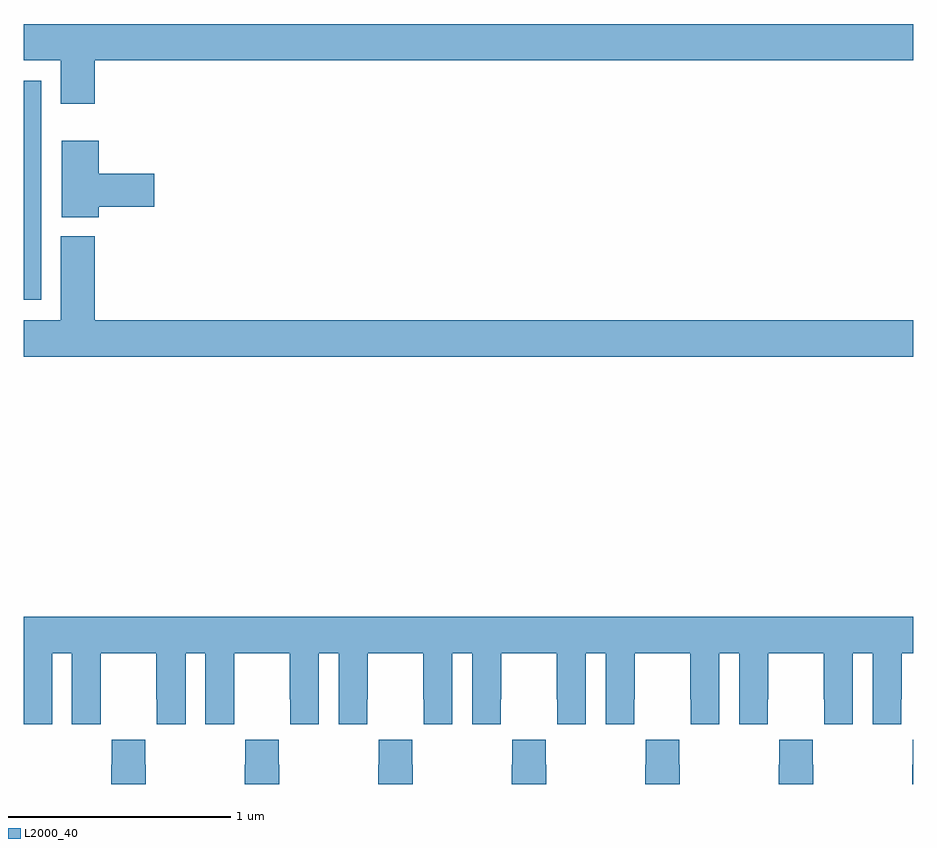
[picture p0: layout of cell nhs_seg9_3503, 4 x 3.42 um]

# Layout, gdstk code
import gdstk
lib = gdstk.Library(unit=1e-6, precision=1e-09)
def R(c, l, rs):  # rectangles x0, y0, x1, y1
    for r in rs: c.add(gdstk.rectangle(r[:2], r[2:], *l))
def P(c, l, *ps):  # polygons
    for p in ps: c.add(gdstk.Polygon(p, *l))
L2000_40 = (2000, 40)

nhs_seg9_3503 = lib.new_cell('nhs_seg9_3503')
R(nhs_seg9_3503, L2000_40, [(311,1196.676,311.079,1197.66)])
P(nhs_seg9_3503, L2000_40, [(311.321,1197.752),(315,1197.752),(315,1197.916),(311,1197.916),(311,1197.752),(311.168,1197.752),(311.168,1197.558),(311.321,1197.558)],
  [(311.338,1197.095),(311.587,1197.095),(311.587,1197.242),(311.338,1197.242),(311.338,1197.391),(311.171,1197.391),(311.171,1197.047),(311.338,1197.047)],
  [(315,1196.584),(311.321,1196.584),(311.321,1196.962),(311.168,1196.962),(311.168,1196.584),(311,1196.584),(311,1196.42),(315,1196.42)],
  [(311,1194.768),(311.128,1194.768),(311.128,1195.088),(311.216,1195.088),(311.216,1194.768),(311.346,1194.768),(311.346,1194.88),(311.347,1194.88),(311.347,1195.088),(311.597,1195.088),(311.597,1194.88),(311.598,1194.88),(311.598,1194.768),(311.728,1194.768),(311.728,1195.088),(311.816,1195.088),(311.816,1194.768),(311.946,1194.768),(311.946,1194.88),(311.947,1194.88),(311.947,1195.088),(312.197,1195.088),(312.197,1194.88),(312.198,1194.88),(312.198,1194.768),(312.328,1194.768),(312.328,1195.088),(312.416,1195.088),(312.416,1194.768),(312.546,1194.768),(312.546,1194.88),(312.547,1194.88),(312.547,1195.088),(312.797,1195.088),(312.797,1194.88),(312.798,1194.88),(312.798,1194.768),(312.928,1194.768),(312.928,1195.088),(313.016,1195.088),(313.016,1194.768),(313.146,1194.768),(313.146,1194.88),(313.147,1194.88),(313.147,1195.088),(313.397,1195.088),(313.397,1194.88),(313.398,1194.88),(313.398,1194.768),(313.528,1194.768),(313.528,1195.088),(313.616,1195.088),(313.616,1194.768),(313.746,1194.768),(313.746,1194.88),(313.747,1194.88),(313.747,1195.088),(313.997,1195.088),(313.997,1194.88),(313.998,1194.88),(313.998,1194.768),(314.128,1194.768),(314.128,1195.088),(314.216,1195.088),(314.216,1194.768),(314.346,1194.768),(314.346,1194.88),(314.347,1194.88),(314.347,1195.088),(314.597,1195.088),(314.597,1194.88),(314.598,1194.88),(314.598,1194.768),(314.728,1194.768),(314.728,1195.088),(314.816,1195.088),(314.816,1194.768),(314.946,1194.768),(314.946,1194.88),(314.947,1194.88),(314.947,1195.088),(315,1195.088),(315,1195.252),(311,1195.252)],
  [(311.55,1194.587),(311.547,1194.587),(311.547,1194.7),(311.397,1194.7),(311.397,1194.587),(311.395,1194.587),(311.395,1194.5),(311.55,1194.5)],
  [(312.15,1194.587),(312.147,1194.587),(312.147,1194.7),(311.997,1194.7),(311.997,1194.587),(311.995,1194.587),(311.995,1194.5),(312.15,1194.5)],
  [(312.75,1194.587),(312.747,1194.587),(312.747,1194.7),(312.597,1194.7),(312.597,1194.587),(312.595,1194.587),(312.595,1194.5),(312.75,1194.5)],
  [(313.35,1194.587),(313.347,1194.587),(313.347,1194.7),(313.197,1194.7),(313.197,1194.587),(313.195,1194.587),(313.195,1194.5),(313.35,1194.5)],
  [(313.95,1194.587),(313.947,1194.587),(313.947,1194.7),(313.797,1194.7),(313.797,1194.587),(313.795,1194.587),(313.795,1194.5),(313.95,1194.5)],
  [(314.55,1194.587),(314.547,1194.587),(314.547,1194.7),(314.397,1194.7),(314.397,1194.587),(314.395,1194.587),(314.395,1194.5),(314.55,1194.5)],
  [(315,1194.7),(314.997,1194.7),(314.997,1194.587),(314.995,1194.587),(314.995,1194.5),(315,1194.5)])

lib.write_gds('nhs_seg9_3503.gds')
